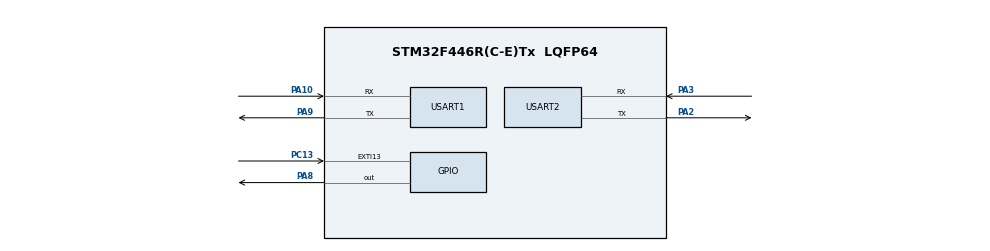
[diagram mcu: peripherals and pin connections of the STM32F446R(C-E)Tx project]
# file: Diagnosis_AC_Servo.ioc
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Mcu.Family=STM32F4
Mcu.Name=STM32F446R(C-E)Tx
Mcu.Package=LQFP64
NVIC.EXTI15_10_IRQn=true\:0\:0\:false\:false\:true\:true\:true\:true
NVIC.PriorityGroup=NVIC_PRIORITYGROUP_4
PA10.Mode=Asynchronous
PA10.Signal=USART1_RX
PA2.Mode=Asynchronous
PA2.Signal=USART2_TX
PA3.Mode=Asynchronous
PA3.Signal=USART2_RX
PA8.Signal=GPIO_Output
PA9.Mode=Asynchronous
PA9.Signal=USART1_TX
PC13.Signal=GPXTI13
ProjectManager.HeapSize=0x200
ProjectManager.StackSize=0x400
ProjectManager.TargetToolchain=STM32CubeIDE
RCC.CortexFreq_Value=16000000
RCC.USBFreq_Value=96000000
RCC.VCOOutputFreq_Value=192000000
USART1.StopBits=STOPBITS_2
USART1.VirtualMode=VM_ASYNC
USART2.VirtualMode=VM_ASYNC
board=custom

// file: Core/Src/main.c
/* USER CODE BEGIN Header */
/**
  ******************************************************************************
  * @file           : main.c
  * @brief          : Main program body
  * Author			: Safwan Sayyad
  ******************************************************************************
  * @attention
  *
  * Copyright (c) 2026 STMicroelectronics.
  * All rights reserved.
  *
  * This software is licensed under terms that can be found in the LICENSE file
  * in the root directory of this software component.
  * If no LICENSE file comes with this software, it is provided AS-IS.
  *
  ******************************************************************************
  */
/* USER CODE END Header */
#include "main.h"

/* USER CODE BEGIN Includes */
#include "modbus_rtu.h"
#include <stdio.h>
/* USER CODE END Includes */

/* USER CODE BEGIN PD */
#define PATH_BASE       0x6200
#define PATH_STRIDE     8
#define PULSES_PER_REV  10000
#define TARGET_RPM      1000
#define ACCEL_TIME      150
#define DECEL_TIME      150
#define PAUSE_MS        500

#define REG_SIMULATED_IO 0x0035
#define REG_PR_TRIGGER   0x6002
#define TRIGGER_PR0      0x0010
#define EMERGENCY_STOP   0x0040

#define TYPE_POSITIONING   1
#define RELATIVE_COMMAND   (1 << 6)
#define JUMP_ENABLE         (1 << 14)

/* USER CODE END PD */

UART_HandleTypeDef huart1;
UART_HandleTypeDef huart2;

/* USER CODE BEGIN PV */
UART_HandleTypeDef huart1;
UART_HandleTypeDef huart2;
/* USER CODE END PV */

void SystemClock_Config(void);
static void MX_GPIO_Init(void);
static void MX_USART1_UART_Init(void);
static void MX_USART2_UART_Init(void);
/* USER CODE BEGIN PFP */
void test_read_mode(void);
void test_velocity_mode(void);
void test_pr_16_paths(void);
void test_torque_mode(void);
void test_setup_velocity_mode(void);
void test_setup_pr_mode(void);
/* USER CODE END PFP */

/* USER CODE BEGIN 0 */
int __io_putchar(int ch)
{
    HAL_UART_Transmit(&huart2, (uint8_t*)&ch, 1, HAL_MAX_DELAY);
    return ch;
}

volatile int stop_requested = 0;

void HAL_GPIO_EXTI_Callback(uint16_t GPIO_Pin)
{
    if (GPIO_Pin == GPIO_PIN_13) {
        stop_requested = 1;
    }
}
/* USER CODE END 0 */

int main(void)
{

  /* MCU Configuration--------------------------------------------------------*/

  /* Reset of all peripherals, Initializes the Flash interface and the Systick. */
  HAL_Init();

  /* Configure the system clock */
  SystemClock_Config();

  /* Initialize all configured peripherals */
  MX_GPIO_Init();
  MX_USART1_UART_Init();
  MX_USART2_UART_Init();
  /* USER CODE BEGIN 2 */

  /*
   * HOW TO SWITCH MODES:
   * 1. Uncomment ONE test_setup_XXX_mode() call below, comment rest out
   * 2. Build, flash, run
   * 3. POWER-CYCLE THE DRIVE (not the Nucleo)
   * 4. Comment the setup function back out
   * 5. Uncomment the actual test you want (e.g. test_pr_16_paths())
   * 6. Build, flash, run
   *
   * Only ONE line should be uncommented at a time.
   */

  test_read_mode();

  //test_setup_velocity_mode();
  //test_velocity_mode();

  //test_setup_pr_mode();
  //test_pr_16_paths();

  //test_setup_torque_mode();
  //test_torque_mode();

  /* USER CODE END 2 */

  /* Infinite loop */
  while (1)
  {

  }
}

void SystemClock_Config(void)
{
  RCC_OscInitTypeDef RCC_OscInitStruct = {0};
  RCC_ClkInitTypeDef RCC_ClkInitStruct = {0};

  /** Configure the main internal regulator output voltage
  */
  __HAL_RCC_PWR_CLK_ENABLE();
  __HAL_PWR_VOLTAGESCALING_CONFIG(PWR_REGULATOR_VOLTAGE_SCALE3);

  /** Initializes the RCC Oscillators according to the specified parameters
  * in the RCC_OscInitTypeDef structure.
  */
  RCC_OscInitStruct.OscillatorType = RCC_OSCILLATORTYPE_HSI;
  RCC_OscInitStruct.HSIState = RCC_HSI_ON;
  RCC_OscInitStruct.HSICalibrationValue = RCC_HSICALIBRATION_DEFAULT;
  RCC_OscInitStruct.PLL.PLLState = RCC_PLL_NONE;
  if (HAL_RCC_OscConfig(&RCC_OscInitStruct) != HAL_OK)
  {
    Error_Handler();
  }

  /** Initializes the CPU, AHB and APB buses clocks
  */
  RCC_ClkInitStruct.ClockType = RCC_CLOCKTYPE_HCLK|RCC_CLOCKTYPE_SYSCLK
                              |RCC_CLOCKTYPE_PCLK1|RCC_CLOCKTYPE_PCLK2;
  RCC_ClkInitStruct.SYSCLKSource = RCC_SYSCLKSOURCE_HSI;
  RCC_ClkInitStruct.AHBCLKDivider = RCC_SYSCLK_DIV1;
  RCC_ClkInitStruct.APB1CLKDivider = RCC_HCLK_DIV1;
  RCC_ClkInitStruct.APB2CLKDivider = RCC_HCLK_DIV1;

  if (HAL_RCC_ClockConfig(&RCC_ClkInitStruct, FLASH_LATENCY_0) != HAL_OK)
  {
    Error_Handler();
  }
}

static void MX_USART1_UART_Init(void)
{

  huart1.Instance = USART1;
  huart1.Init.BaudRate = 115200;
  huart1.Init.WordLength = UART_WORDLENGTH_8B;
  huart1.Init.StopBits = UART_STOPBITS_2;
  huart1.Init.Parity = UART_PARITY_NONE;
  huart1.Init.Mode = UART_MODE_TX_RX;
  huart1.Init.HwFlowCtl = UART_HWCONTROL_NONE;
  huart1.Init.OverSampling = UART_OVERSAMPLING_16;
  if (HAL_UART_Init(&huart1) != HAL_OK)
  {
    Error_Handler();
  }

}

static void MX_USART2_UART_Init(void)
{

  huart2.Instance = USART2;
  huart2.Init.BaudRate = 115200;
  huart2.Init.WordLength = UART_WORDLENGTH_8B;
  huart2.Init.StopBits = UART_STOPBITS_1;
  huart2.Init.Parity = UART_PARITY_NONE;
  huart2.Init.Mode = UART_MODE_TX_RX;
  huart2.Init.HwFlowCtl = UART_HWCONTROL_NONE;
  huart2.Init.OverSampling = UART_OVERSAMPLING_16;
  if (HAL_UART_Init(&huart2) != HAL_OK)
  {
    Error_Handler();
  }

}

static void MX_GPIO_Init(void)
{
  GPIO_InitTypeDef GPIO_InitStruct = {0};

  /* GPIO Ports Clock Enable */
  __HAL_RCC_GPIOC_CLK_ENABLE();
  __HAL_RCC_GPIOA_CLK_ENABLE();

  /*Configure GPIO pin Output Level */
  HAL_GPIO_WritePin(GPIOA, GPIO_PIN_8, GPIO_PIN_RESET);

  /*Configure GPIO pin : PC13 */
  GPIO_InitStruct.Pin = GPIO_PIN_13;
  GPIO_InitStruct.Mode = GPIO_MODE_IT_RISING;
  GPIO_InitStruct.Pull = GPIO_NOPULL;
  HAL_GPIO_Init(GPIOC, &GPIO_InitStruct);

  /*Configure GPIO pin : PA8 */
  GPIO_InitStruct.Pin = GPIO_PIN_8;
  GPIO_InitStruct.Mode = GPIO_MODE_OUTPUT_PP;
  GPIO_InitStruct.Pull = GPIO_NOPULL;
  GPIO_InitStruct.Speed = GPIO_SPEED_FREQ_LOW;
  HAL_GPIO_Init(GPIOA, &GPIO_InitStruct);

  /* EXTI interrupt init*/
  HAL_NVIC_SetPriority(EXTI15_10_IRQn, 0, 0);
  HAL_NVIC_EnableIRQ(EXTI15_10_IRQn);

}

/* USER CODE BEGIN 4 */
void test_read_mode(void)
{
    Modbus_Init(&huart1);
    uint16_t mode = 0;
    Modbus_ReadRegister(0x0003, &mode);
    printf("Current P00.01 = %d\r\n", mode);
}

void test_velocity_mode(void)
{
    Modbus_Init(&huart1);

    Modbus_WriteRegister(0x0319, 150);   /* P03.12, acceleration time */
    HAL_Delay(100);
    Modbus_WriteRegister(0x031B, 150);   /* P03.13, deceleration time */
    HAL_Delay(100);

    Modbus_WriteRegister(0x0309, 100);   /* P03.04, target rpm */
    HAL_Delay(200);

    Modbus_WriteRegister(0x0035, (1 << 4));   /* servo on */
    printf("Servo enabled, running at 100 rpm...\r\n");
    HAL_Delay(5000);

    /* Ramp speed down to 0 BEFORE disabling - avoids the dynamic brake
     * hard-stop, lets P03.13's deceleration profile actually apply */
    Modbus_WriteRegister(0x0309, 0);
    printf("Ramping down to 0 rpm...\r\n");
    HAL_Delay(2000);   /* give it time to actually decelerate and settle */

    Modbus_WriteRegister(0x0035, 0x0000);   /* servo off, now safe/gentle */
    printf("Servo disabled.\r\n");
}

void test_torque_mode(void)
{
    Modbus_Init(&huart1);

    /* Torque source = use P03.22 directly over RS485 (not analog input) */
    Modbus_WriteRegister(0x0323, 2);   /* P03.17 */
    HAL_Delay(100);

    /* Safety clamp: even with nothing resisting the shaft, it can't spin
     * faster than this. Keep LOW while hand-testing. */
    Modbus_WriteRegister(0x032B, 30);   /* P03.21, velocity limit in torque mode */
    HAL_Delay(100);

    /* Start at 0 torque before enabling */
    Modbus_WriteRegister(0x032D, 0);   /* P03.22 */
    HAL_Delay(100);

    Modbus_WriteRegister(0x0035, (1 << 4));   /* servo on */
    HAL_Delay(300);
    printf("Servo enabled. Velocity limit = 30 rpm (safety clamp).\r\n\r\n");

    uint16_t torque_steps[3] = {5, 10, 20};
    for (int i = 0; i < 3; i++) {
        printf("Setting torque = %d%%, holding for 6s...\r\n", torque_steps[i]);
        printf("  -> Try holding/twisting the shaft by hand now.\r\n");
        Modbus_WriteRegister(0x032D, torque_steps[i]);
        HAL_Delay(6000);
    }

    printf("\r\nTest complete. Setting torque back to 0.\r\n");
    Modbus_WriteRegister(0x032D, 0);
    HAL_Delay(500);

    Modbus_WriteRegister(0x0035, 0x0000);   /* servo off */
    printf("Servo disabled.\r\n");
}

void test_setup_velocity_mode(void)
{
    Modbus_Init(&huart1);

    uint16_t current_mode = 0;
    Modbus_ReadRegister(0x0003, &current_mode);
    printf("Current P00.01 = %d\r\n", current_mode);
    HAL_Delay(200);

    Modbus_WriteRegister(0x0003, 1);   /* P00.01 = 1, Velocity mode */
    printf("P00.01 written = 1 (Velocity mode)\r\n");
    HAL_Delay(200);

    Modbus_WriteRegister(0x0033, 0x2211);   /* P00.25, save to EEPROM */
    printf("Saved to EEPROM. POWER-CYCLE THE DRIVE NOW.\r\n");
}

void test_setup_torque_mode(void)
{
    Modbus_Init(&huart1);

    uint16_t current_mode = 0;
    Modbus_ReadRegister(0x0003, &current_mode);
    printf("Current P00.01 = %d\r\n", current_mode);
    HAL_Delay(200);

    Modbus_WriteRegister(0x0003, 2);   /* P00.01 = 2, Torque mode */
    printf("P00.01 written = 2 (Torque mode)\r\n");
    HAL_Delay(200);

    Modbus_WriteRegister(0x0033, 0x2211);   /* P00.25, save to EEPROM */
    printf("Saved to EEPROM. POWER-CYCLE THE DRIVE NOW.\r\n");
}

void test_setup_pr_mode(void)
{
    Modbus_Init(&huart1);

    Modbus_WriteRegister(0x0003, 6);   /* P00.01 = 6, PR mode */
    printf("P00.01 written = 6 (PR mode)\r\n");
    HAL_Delay(200);

    Modbus_WriteRegister(0x0033, 0x2211);   /* P00.25, save to EEPROM */
    printf("Saved to EEPROM. POWER-CYCLE THE DRIVE NOW.\r\n");
}

static int32_t degrees_to_pulses(int32_t deg)
{
    return (deg * PULSES_PER_REV) / 360;
}

static uint16_t path_addr(int path_num, int offset)
{
    return PATH_BASE + (path_num * PATH_STRIDE) + offset;
}

void test_pr_16_paths(void)
{
    Modbus_Init(&huart1);
    stop_requested = 0;

    int32_t sequence[16] = {
        360, -360, 180, -180,
         90,  -90,  45,  -45,
        270, -270, 120, -120,
         60,  -60,  30,  -30,
    };

    int config_failed = 0;

    printf("Configuring 16 paths (looping forever until button press)...\r\n");
    for (int i = 0; i < 16; i++) {
        int next_path = (i + 1) % 16;   /* PR15 jumps back to PR0 - infinite loop */

        int32_t pulses = degrees_to_pulses(sequence[i]);
        uint16_t high = (uint16_t)((pulses >> 16) & 0xFFFF);
        uint16_t low  = (uint16_t)(pulses & 0xFFFF);
        uint16_t mode_value = TYPE_POSITIONING | RELATIVE_COMMAND |
                               JUMP_ENABLE | (next_path << 8);

        ModbusStatus r1 = Modbus_WriteRegister_Retry(path_addr(i, 0), mode_value);
        ModbusStatus r2 = Modbus_WriteRegister_Retry(path_addr(i, 1), high);
        ModbusStatus r3 = Modbus_WriteRegister_Retry(path_addr(i, 2), low);
        ModbusStatus r4 = Modbus_WriteRegister_Retry(path_addr(i, 3), (uint16_t)TARGET_RPM);
        ModbusStatus r5 = Modbus_WriteRegister_Retry(path_addr(i, 4), ACCEL_TIME);
        ModbusStatus r6 = Modbus_WriteRegister_Retry(path_addr(i, 5), DECEL_TIME);
        ModbusStatus r7 = Modbus_WriteRegister_Retry(path_addr(i, 6), PAUSE_MS);

        if (r1 || r2 || r3 || r4 || r5 || r6 || r7) {
            printf("PR%d: CONFIG FAILED, aborting before any motion.\r\n", i);
            config_failed = 1;
            goto cleanup;
        }
        printf("PR%d configured OK\r\n", i);
    }

    if (Modbus_WriteRegister_Retry(REG_SIMULATED_IO, (1 << 4)) != MODBUS_OK) {
        printf("FAILED to enable servo, aborting.\r\n");
        config_failed = 1;
        goto cleanup;
    }
    HAL_Delay(200);

    if (Modbus_WriteRegister_Retry(REG_PR_TRIGGER, TRIGGER_PR0) != MODBUS_OK) {
        printf("FAILED to trigger PR0, aborting.\r\n");
        config_failed = 1;
        goto cleanup;
    }

    printf("Triggered PR0. Running forever - press the USER button to stop.\r\n");

    while (!stop_requested) {
        HAL_Delay(50);   /* main loop just idles, waiting for the interrupt flag */
    }

    printf("Button pressed. Stopping.\r\n");

cleanup:
    Modbus_WriteRegister_Retry(REG_PR_TRIGGER, EMERGENCY_STOP);
    HAL_Delay(200);
    Modbus_WriteRegister_Retry(REG_SIMULATED_IO, 0x0000);

    if (config_failed) {
        printf("Stopped due to a failure above. Servo disabled.\r\n");
    } else {
        printf("Servo disabled.\r\n");
    }
}

/* USER CODE END 4 */

void Error_Handler(void)
{
  __disable_irq();
  while (1)
  {
  }
}
